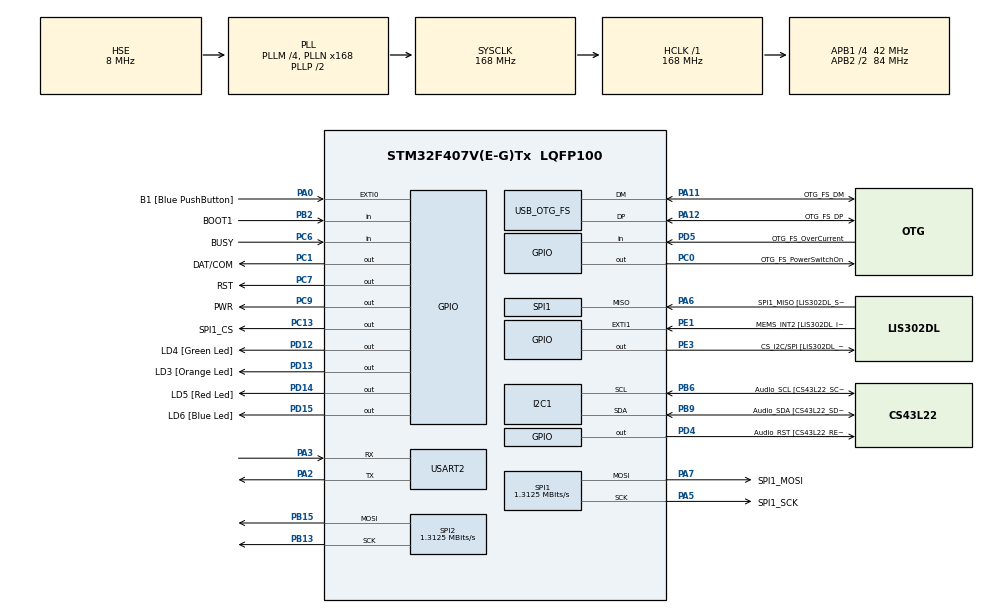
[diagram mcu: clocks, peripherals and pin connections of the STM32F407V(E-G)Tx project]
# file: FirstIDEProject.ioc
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Mcu.Family=STM32F4
Mcu.Name=STM32F407V(E-G)Tx
Mcu.Package=LQFP100
NVIC.OTG_FS_IRQn=true\:0\:0\:false\:false\:true\:true\:true\:true
NVIC.PriorityGroup=NVIC_PRIORITYGROUP_0
NVIC.TIM3_IRQn=true\:0\:0\:false\:false\:true\:true\:true\:true
NVIC.TIM6_DAC_IRQn=true\:0\:0\:false\:false\:true\:true\:true\:true
PA0-WKUP.GPIO_Label=B1 [Blue PushButton]
PA0-WKUP.GPIO_ModeDefaultEXTI=GPIO_MODE_EVT_RISING
PA0-WKUP.GPIO_PuPd=GPIO_NOPULL
PA0-WKUP.Signal=GPXTI0
PA10.GPIO_Label=OTG_FS_ID
PA10.GPIO_Mode=GPIO_MODE_AF_PP
PA10.GPIO_PuPd=GPIO_NOPULL
PA10.GPIO_Speed=GPIO_SPEED_FREQ_LOW
PA10.Signal=USB_OTG_FS_ID
PA11.GPIO_Label=OTG_FS_DM
PA11.GPIO_Mode=GPIO_MODE_AF_PP
PA11.GPIO_PuPd=GPIO_NOPULL
PA11.GPIO_Speed=GPIO_SPEED_FREQ_LOW
PA11.Mode=Device_Only
PA11.Signal=USB_OTG_FS_DM
PA12.GPIO_Label=OTG_FS_DP
PA12.GPIO_Mode=GPIO_MODE_AF_PP
PA12.GPIO_PuPd=GPIO_NOPULL
PA12.GPIO_Speed=GPIO_SPEED_FREQ_LOW
PA12.Mode=Device_Only
PA12.Signal=USB_OTG_FS_DP
PA13.GPIO_Label=SWDIO
PA13.Mode=Serial_Wire
PA13.Signal=SYS_JTMS-SWDIO
PA14.GPIO_Label=SWCLK
PA14.Mode=Serial_Wire
PA14.Signal=SYS_JTCK-SWCLK
PA2.Mode=Asynchronous
PA2.Signal=USART2_TX
PA3.Mode=Asynchronous
PA3.Signal=USART2_RX
PA4.GPIO_Label=I2S3_WS [CS43L22_LRCK]
PA4.GPIO_Mode=GPIO_MODE_AF_PP
PA4.GPIO_PuPd=GPIO_NOPULL
PA4.GPIO_Speed=GPIO_SPEED_FREQ_LOW
PA4.Signal=I2S3_WS
PA5.GPIO_Label=SPI1_SCK
PA5.GPIO_Mode=GPIO_MODE_AF_PP
PA5.GPIO_PuPd=GPIO_NOPULL
PA5.GPIO_Speed=GPIO_SPEED_FREQ_LOW
PA5.Mode=Full_Duplex_Master
PA5.Signal=SPI1_SCK
PA6.GPIO_Label=SPI1_MISO [LIS302DL_SDO]
PA6.GPIO_Mode=GPIO_MODE_AF_PP
PA6.GPIO_PuPd=GPIO_NOPULL
PA6.GPIO_Speed=GPIO_SPEED_FREQ_LOW
PA6.Mode=Full_Duplex_Master
PA6.Signal=SPI1_MISO
PA7.GPIO_Label=SPI1_MOSI
PA7.GPIO_Mode=GPIO_MODE_AF_PP
PA7.GPIO_PuPd=GPIO_NOPULL
PA7.GPIO_Speed=GPIO_SPEED_FREQ_LOW
PA7.Mode=Full_Duplex_Master
PA7.Signal=SPI1_MOSI
PA9.GPIO_Label=VBUS_FS
PA9.GPIO_Mode=GPIO_MODE_INPUT
PA9.GPIO_PuPd=GPIO_NOPULL
PA9.Signal=USB_OTG_FS_VBUS
PB10.GPIO_Label=CLK_IN [MP45DT02_CLK]
PB10.GPIO_Mode=GPIO_MODE_AF_PP
PB10.GPIO_PuPd=GPIO_NOPULL
PB10.GPIO_Speed=GPIO_SPEED_FREQ_LOW
PB10.Signal=I2S2_CK
PB13.Mode=TX_Only_Simplex_Unidirect_Master
PB13.Signal=SPI2_SCK
PB15.Mode=TX_Only_Simplex_Unidirect_Master
PB15.Signal=SPI2_MOSI
PB2.GPIO_Label=BOOT1
PB2.GPIO_Mode=GPIO_MODE_INPUT
PB2.GPIO_PuPd=GPIO_NOPULL
PB2.Signal=GPIO_Input
PB3.GPIO_Label=SWO
PB3.Signal=SYS_JTDO-SWO
PB6.GPIO_Label=Audio_SCL [CS43L22_SCL]
PB6.GPIO_Mode=GPIO_MODE_AF_OD
PB6.GPIO_Pu=GPIO_PULLUP
PB6.GPIO_PuPd=GPIO_NOPULL
PB6.GPIO_Speed=GPIO_SPEED_FREQ_LOW
PB6.Mode=I2C
PB6.Signal=I2C1_SCL
PB9.GPIO_Label=Audio_SDA [CS43L22_SDA]
PB9.GPIO_Mode=GPIO_MODE_AF_OD
PB9.GPIO_Pu=GPIO_PULLUP
PB9.GPIO_PuPd=GPIO_NOPULL
PB9.GPIO_Speed=GPIO_SPEED_FREQ_LOW
PB9.Mode=I2C
PB9.Signal=I2C1_SDA
PC0.GPIO_Label=OTG_FS_PowerSwitchOn
PC0.GPIO_PuPd=GPIO_NOPULL
PC0.GPIO_Speed=GPIO_SPEED_FREQ_LOW
PC0.PinState=GPIO_PIN_SET
PC0.Signal=GPIO_Output
PC1.GPIO_Label=DAT/COM
PC1.Signal=GPIO_Output
PC10.GPIO_Label=I2S3_SCK [CS43L22_SCLK]
PC10.GPIO_Mode=GPIO_MODE_AF_PP
PC10.GPIO_PuPd=GPIO_NOPULL
PC10.GPIO_Speed=GPIO_SPEED_FREQ_LOW
PC10.Signal=I2S3_CK
PC12.GPIO_Label=I2S3_SD [CS43L22_SDIN]
PC12.GPIO_Mode=GPIO_MODE_AF_PP
PC12.GPIO_PuPd=GPIO_NOPULL
PC12.GPIO_Speed=GPIO_SPEED_FREQ_LOW
PC12.Signal=I2S3_SD
PC13-ANTI_TAMP.GPIO_Label=SPI1_CS
PC13-ANTI_TAMP.Signal=GPIO_Output
PC14-OSC32_IN.GPIO_Label=PC14-OSC32_IN
PC14-OSC32_IN.Signal=RCC_OSC32_IN
PC15-OSC32_OUT.GPIO_Label=PC15-OSC32_OUT
PC15-OSC32_OUT.Signal=RCC_OSC32_OUT
PC3.GPIO_Label=PDM_OUT [MP45DT02_DOUT]
PC3.GPIO_Mode=GPIO_MODE_AF_PP
PC3.GPIO_PuPd=GPIO_NOPULL
PC3.GPIO_Speed=GPIO_SPEED_FREQ_LOW
PC3.Signal=I2S2_SD
PC6.GPIO_Label=BUSY
PC6.Signal=GPIO_Input
PC7.GPIO_Label=RST
PC7.Signal=GPIO_Output
PC9.GPIO_Label=PWR
PC9.Signal=GPIO_Output
PD12.GPIO_Label=LD4 [Green Led]
PD12.GPIO_PuPd=GPIO_NOPULL
PD12.GPIO_Speed=GPIO_SPEED_FREQ_LOW
PD12.Signal=GPIO_Output
PD13.GPIO_Label=LD3 [Orange Led]
PD13.GPIO_PuPd=GPIO_NOPULL
PD13.GPIO_Speed=GPIO_SPEED_FREQ_LOW
PD13.Signal=GPIO_Output
PD14.GPIO_Label=LD5 [Red Led]
PD14.GPIO_PuPd=GPIO_NOPULL
PD14.GPIO_Speed=GPIO_SPEED_FREQ_LOW
PD14.Signal=GPIO_Output
PD15.GPIO_Label=LD6 [Blue Led]
PD15.GPIO_PuPd=GPIO_NOPULL
PD15.GPIO_Speed=GPIO_SPEED_FREQ_LOW
PD15.Signal=GPIO_Output
PD4.GPIO_Label=Audio_RST [CS43L22_RESET]
PD4.GPIO_PuPd=GPIO_NOPULL
PD4.GPIO_Speed=GPIO_SPEED_FREQ_LOW
PD4.Signal=GPIO_Output
PD5.GPIO_Label=OTG_FS_OverCurrent
PD5.GPIO_Mode=GPIO_MODE_INPUT
PD5.GPIO_PuPd=GPIO_NOPULL
PD5.Signal=GPIO_Input
PE1.GPIO_Label=MEMS_INT2 [LIS302DL_INT2]
PE1.GPIO_ModeDefaultEXTI=GPIO_MODE_EVT_RISING
PE1.GPIO_PuPd=GPIO_NOPULL
PE1.Signal=GPXTI1
PE3.GPIO_Label=CS_I2C/SPI [LIS302DL_CS_I2C/SPI]
PE3.GPIO_PuPd=GPIO_NOPULL
PE3.GPIO_Speed=GPIO_SPEED_FREQ_LOW
PE3.Signal=GPIO_Output
PH0-OSC_IN.GPIO_Label=PH0-OSC_IN
PH0-OSC_IN.Mode=HSE-External-Oscillator
PH0-OSC_IN.Signal=RCC_OSC_IN
PH1-OSC_OUT.GPIO_Label=PH1-OSC_OUT
PH1-OSC_OUT.Mode=HSE-External-Oscillator
PH1-OSC_OUT.Signal=RCC_OSC_OUT
ProjectManager.HeapSize=0x2000
ProjectManager.StackSize=0x4000
ProjectManager.TargetToolchain=STM32CubeIDE
RCC.48MHZClocksFreq_Value=48000000
RCC.AHBFreq_Value=168000000
RCC.APB1CLKDivider=RCC_HCLK_DIV4
RCC.APB1Freq_Value=42000000
RCC.APB1TimFreq_Value=84000000
RCC.APB2CLKDivider=RCC_HCLK_DIV2
RCC.APB2Freq_Value=84000000
RCC.APB2TimFreq_Value=168000000
RCC.CortexFreq_Value=168000000
RCC.HCLKFreq_Value=168000000
RCC.HSE_VALUE=8000000
RCC.HSI_VALUE=16000000
RCC.PLLM=4
RCC.PLLN=168
RCC.PLLQ=7
RCC.SYSCLKFreq_VALUE=168000000
RCC.SYSCLKSource=RCC_SYSCLKSOURCE_PLLCLK
RCC.VCOOutputFreq_Value=336000000
SPI1.BaudRatePrescaler=SPI_BAUDRATEPRESCALER_64
SPI1.CalculateBaudRate=1.3125 MBits/s
SPI1.Direction=SPI_DIRECTION_2LINES
SPI1.Mode=SPI_MODE_MASTER
SPI1.VirtualType=VM_MASTER
SPI2.BaudRatePrescaler=SPI_BAUDRATEPRESCALER_32
SPI2.CalculateBaudRate=1.3125 MBits/s
SPI2.Direction=SPI_DIRECTION_2LINES
SPI2.Mode=SPI_MODE_MASTER
SPI2.VirtualType=VM_MASTER
TIM3.Prescaler=11
TIM6.TIM_MasterOutputTrigger=TIM_TRGO_ENABLE
USART2.VirtualMode=VM_ASYNC
USB_OTG_FS.VirtualMode=Device_Only
VP_TIM3_VS_ClockSourceINT.Mode=Internal
VP_TIM6_VS_ClockSourceINT.Mode=Enable_Timer
board=STM32F407G-DISC1

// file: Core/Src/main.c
/* USER CODE BEGIN Header */
/**
  ******************************************************************************
  * @file           : main.c
  * @brief          : Main program body
  ******************************************************************************
  * @attention
  *
  * Copyright (c) 2025 STMicroelectronics.
  * All rights reserved.
  *
  * This software is licensed under terms that can be found in the LICENSE file
  * in the root directory of this software component.
  * If no LICENSE file comes with this software, it is provided AS-IS.
  *
  ******************************************************************************
  */
/* USER CODE END Header */
#include "main.h"

/* USER CODE BEGIN Includes */

#include "../Pilotes/piloteIOB1.h"
#include "../Pilotes/piloteIOT1.h"
#include "../Pilotes/piloteIOT2.h"
#include "../Pilotes/piloteIOT3.h"
#include "../Pilotes/piloteIOT4.h"
#include "../Pilotes/PiloteIO_SPI_EPAPER.h"
#include "../Pilotes/PiloteTimer6Up.h"

#include "../Interfaces/interfaceB1.h"
#include "../Interfaces/interfaceT1.h"
#include "../Interfaces/interfaceT2.h"
#include "../Interfaces/interfaceT3.h"
#include "../Interfaces/interfaceT4.h"

#include "../Services/serviceBaseDeTemps.h"

#include "EPD_352_Interface.h"

#include "GUI_Paint.h"
#include "ImageData.h"

/* USER CODE END Includes */

I2C_HandleTypeDef hi2c1;

SPI_HandleTypeDef hspi1;
SPI_HandleTypeDef hspi2;

TIM_HandleTypeDef htim3;
TIM_HandleTypeDef htim6;

UART_HandleTypeDef huart2;

PCD_HandleTypeDef hpcd_USB_OTG_FS;

void SystemClock_Config(void);
static void MX_GPIO_Init(void);
static void MX_I2C1_Init(void);
static void MX_SPI1_Init(void);
static void MX_USART2_UART_Init(void);
static void MX_USB_OTG_FS_PCD_Init(void);
static void MX_SPI2_Init(void);
static void MX_TIM3_Init(void);
static void MX_TIM6_Init(void);
/* USER CODE BEGIN PFP */
void main_initialiseAvantLeHAL(void);
void main_initialiseApresLeHAL(void);
/* USER CODE END PFP */

/* USER CODE BEGIN 0 */
const uint8_t EPD_BLACK = 0x00;
const uint8_t EPD_WHITE = 0xFF;

void neFaitRien(void)
{

}

void main_initialiseAvantLeHAL(void)
{
  // Initialise les pilotes de p�riph�riques
  piloteTimer6Up_initialise();
  Pilote_CS0_EPAPER_initialise();
  Pilote_DC_EPAPER_initialise();
  Pilote_RST_EPAPER_initialise();
  Pilote_BUSY_EPAPER_initialise();
  // Initalise les pilotes d'entr�es/sorties
  piloteIOB1_initialise();
  piloteIOT1_initialise();
  piloteIOT2_initialise();
  piloteIOT3_initialise();
  piloteIOT4_initialise();
  // Initialise les interfaces
  interfaceB1_initialise();
  interfaceT1_initialise();
  interfaceT2_initialise();
  interfaceT3_initialise();
  interfaceT4_initialise();
  // Initialise the base de temps service
  serviceBaseDeTemps_initialise();
}

void main_initialiseApresLeHAL(void)
{
	EPD_352_Init();
}
/* USER CODE END 0 */

int main(void)
{

  /* USER CODE BEGIN 1 */
  char uart_buf[50];
 //char spi_buf[20];
  int uart_len;

  /* USER CODE END 1 */

  /* MCU Configuration--------------------------------------------------------*/

  /* Reset of all peripherals, Initializes the Flash interface and the Systick. */
  HAL_Init();

  /* Configure the system clock */
  SystemClock_Config();

  /* Initialize all configured peripherals */
  MX_GPIO_Init();
  MX_I2C1_Init();
  MX_SPI1_Init();
  MX_USART2_UART_Init();
  MX_USB_OTG_FS_PCD_Init();
  MX_SPI2_Init();
  MX_TIM3_Init();
  MX_TIM6_Init();
  /* USER CODE BEGIN 2 */
  main_initialiseApresLeHAL();

  EPD_352_display_NUM(EPD_3IN52_BLACK);
  EPD_352_lut_GC();
  EPD_352_refresh();

  EPD_352_SendCommand(0x50);
  EPD_352_SendData(0x17);

  HAL_Delay(500);

  uint8_t *imagenoir;
  uint16_t imagesize= ((EPD_3IN52_WIDTH % 8 == 0)? (EPD_3IN52_WIDTH / 8 ): (EPD_3IN52_WIDTH / 8 + 1)) * EPD_3IN52_HEIGHT;
  if((imagenoir = (uint8_t *)malloc(imagesize)) == NULL) {
	  uart_len = sprintf(uart_buf, "Failed to apply for black memory...\r\n");
	  HAL_UART_Transmit(&huart2, (uint8_t *)uart_buf, uart_len, HAL_MAX_DELAY);
          return -1;
      }
  Paint_NewImage(imagenoir, EPD_3IN52_WIDTH, EPD_3IN52_HEIGHT, ROTATE_270, WHITE);
  Paint_Clear(WHITE);

  Paint_SelectImage(imagenoir);
  Paint_Clear(WHITE);
  Paint_DrawBitMap(gImage_Didou);

  EPD_352_display(imagenoir);
  EPD_352_lut_GC();
  EPD_352_refresh();
/*  HAL_Delay(2000);

    Paint_SelectImage(imagenoir);
    Paint_Clear(WHITE);
    EPD_352_lut_GC();  m,                                      <
    <
    EPD_352_refresh();
    EPD_352_display(imagenoir);
    Paint_SelectImage(imagenoir);
    Paint_Clear(WHITE);

    Paint_DrawPoint(10, 80, BLACK, DOT_PIXEL_1X1, DOT_STYLE_DFT);
    Paint_DrawPoint(10, 90, BLACK, DOT_PIXEL_2X2, DOT_STYLE_DFT);
    Paint_DrawPoint(10, 100, BLACK, DOT_PIXEL_3X3, DOT_STYLE_DFT);
    Paint_DrawLine(20, 70, 70, 120, BLACK, DOT_PIXEL_1X1, LINE_STYLE_SOLID);
    Paint_DrawLine(70, 70, 20, 120, BLACK, DOT_PIXEL_1X1, LINE_STYLE_SOLID);
    Paint_DrawRectangle(20, 70, 70, 120, BLACK, DOT_PIXEL_1X1, DRAW_FILL_EMPTY);
    Paint_DrawRectangle(80, 70, 130, 120, BLACK, DOT_PIXEL_1X1, DRAW_FILL_FULL);
    Paint_DrawCircle(45, 95, 20, BLACK, DOT_PIXEL_1X1, DRAW_FILL_EMPTY);
    Paint_DrawCircle(105, 95, 20, WHITE, DOT_PIXEL_1X1, DRAW_FILL_FULL);
    Paint_DrawLine(85, 95, 125, 95, BLACK, DOT_PIXEL_1X1, LINE_STYLE_DOTTED);
    Paint_DrawLine(105, 75, 105, 115, BLACK, DOT_PIXEL_1X1, LINE_STYLE_DOTTED);
    Paint_DrawString_EN(10, 0, "waveshare", &Font16, BLACK, WHITE);
    Paint_DrawString_EN(10, 20, "hello world", &Font12, WHITE, BLACK);
    Paint_DrawNum(10, 33, 123456789, &Font12, BLACK, WHITE);
    Paint_DrawNum(10, 50, 987654321, &Font16, WHITE, BLACK);

    EPD_352_display(imagenoir);
    EPD_352_lut_GC();
    EPD_352_refresh();
*/
    HAL_Delay(2000);

  /* USER CODE END 2 */

  /* Infinite loop */
  while (1)
  {

  }
}

void SystemClock_Config(void)
{
  RCC_OscInitTypeDef RCC_OscInitStruct = {0};
  RCC_ClkInitTypeDef RCC_ClkInitStruct = {0};

  /** Configure the main internal regulator output voltage
  */
  __HAL_RCC_PWR_CLK_ENABLE();
  __HAL_PWR_VOLTAGESCALING_CONFIG(PWR_REGULATOR_VOLTAGE_SCALE1);

  /** Initializes the RCC Oscillators according to the specified parameters
  * in the RCC_OscInitTypeDef structure.
  */
  RCC_OscInitStruct.OscillatorType = RCC_OSCILLATORTYPE_HSE;
  RCC_OscInitStruct.HSEState = RCC_HSE_ON;
  RCC_OscInitStruct.PLL.PLLState = RCC_PLL_ON;
  RCC_OscInitStruct.PLL.PLLSource = RCC_PLLSOURCE_HSE;
  RCC_OscInitStruct.PLL.PLLM = 4;
  RCC_OscInitStruct.PLL.PLLN = 168;
  RCC_OscInitStruct.PLL.PLLP = RCC_PLLP_DIV2;
  RCC_OscInitStruct.PLL.PLLQ = 7;
  if (HAL_RCC_OscConfig(&RCC_OscInitStruct) != HAL_OK)
  {
    Error_Handler();
  }

  /** Initializes the CPU, AHB and APB buses clocks
  */
  RCC_ClkInitStruct.ClockType = RCC_CLOCKTYPE_HCLK|RCC_CLOCKTYPE_SYSCLK
                              |RCC_CLOCKTYPE_PCLK1|RCC_CLOCKTYPE_PCLK2;
  RCC_ClkInitStruct.SYSCLKSource = RCC_SYSCLKSOURCE_PLLCLK;
  RCC_ClkInitStruct.AHBCLKDivider = RCC_SYSCLK_DIV1;
  RCC_ClkInitStruct.APB1CLKDivider = RCC_HCLK_DIV4;
  RCC_ClkInitStruct.APB2CLKDivider = RCC_HCLK_DIV2;

  if (HAL_RCC_ClockConfig(&RCC_ClkInitStruct, FLASH_LATENCY_5) != HAL_OK)
  {
    Error_Handler();
  }
}

static void MX_I2C1_Init(void)
{

  hi2c1.Instance = I2C1;
  hi2c1.Init.ClockSpeed = 100000;
  hi2c1.Init.DutyCycle = I2C_DUTYCYCLE_2;
  hi2c1.Init.OwnAddress1 = 0;
  hi2c1.Init.AddressingMode = I2C_ADDRESSINGMODE_7BIT;
  hi2c1.Init.DualAddressMode = I2C_DUALADDRESS_DISABLE;
  hi2c1.Init.OwnAddress2 = 0;
  hi2c1.Init.GeneralCallMode = I2C_GENERALCALL_DISABLE;
  hi2c1.Init.NoStretchMode = I2C_NOSTRETCH_DISABLE;
  if (HAL_I2C_Init(&hi2c1) != HAL_OK)
  {
    Error_Handler();
  }

}

static void MX_SPI1_Init(void)
{

  /* SPI1 parameter configuration*/
  hspi1.Instance = SPI1;
  hspi1.Init.Mode = SPI_MODE_MASTER;
  hspi1.Init.Direction = SPI_DIRECTION_2LINES;
  hspi1.Init.DataSize = SPI_DATASIZE_8BIT;
  hspi1.Init.CLKPolarity = SPI_POLARITY_LOW;
  hspi1.Init.CLKPhase = SPI_PHASE_1EDGE;
  hspi1.Init.NSS = SPI_NSS_SOFT;
  hspi1.Init.BaudRatePrescaler = SPI_BAUDRATEPRESCALER_64;
  hspi1.Init.FirstBit = SPI_FIRSTBIT_MSB;
  hspi1.Init.TIMode = SPI_TIMODE_DISABLE;
  hspi1.Init.CRCCalculation = SPI_CRCCALCULATION_DISABLE;
  hspi1.Init.CRCPolynomial = 10;
  if (HAL_SPI_Init(&hspi1) != HAL_OK)
  {
    Error_Handler();
  }

}

static void MX_SPI2_Init(void)
{

  /* SPI2 parameter configuration*/
  hspi2.Instance = SPI2;
  hspi2.Init.Mode = SPI_MODE_MASTER;
  hspi2.Init.Direction = SPI_DIRECTION_2LINES;
  hspi2.Init.DataSize = SPI_DATASIZE_8BIT;
  hspi2.Init.CLKPolarity = SPI_POLARITY_LOW;
  hspi2.Init.CLKPhase = SPI_PHASE_1EDGE;
  hspi2.Init.NSS = SPI_NSS_SOFT;
  hspi2.Init.BaudRatePrescaler = SPI_BAUDRATEPRESCALER_32;
  hspi2.Init.FirstBit = SPI_FIRSTBIT_MSB;
  hspi2.Init.TIMode = SPI_TIMODE_DISABLE;
  hspi2.Init.CRCCalculation = SPI_CRCCALCULATION_DISABLE;
  hspi2.Init.CRCPolynomial = 10;
  if (HAL_SPI_Init(&hspi2) != HAL_OK)
  {
    Error_Handler();
  }

}

static void MX_TIM3_Init(void)
{

  TIM_ClockConfigTypeDef sClockSourceConfig = {0};
  TIM_MasterConfigTypeDef sMasterConfig = {0};

  htim3.Instance = TIM3;
  htim3.Init.Prescaler = 11;
  htim3.Init.CounterMode = TIM_COUNTERMODE_UP;
  htim3.Init.Period = 65535;
  htim3.Init.ClockDivision = TIM_CLOCKDIVISION_DIV1;
  htim3.Init.AutoReloadPreload = TIM_AUTORELOAD_PRELOAD_DISABLE;
  if (HAL_TIM_Base_Init(&htim3) != HAL_OK)
  {
    Error_Handler();
  }
  sClockSourceConfig.ClockSource = TIM_CLOCKSOURCE_INTERNAL;
  if (HAL_TIM_ConfigClockSource(&htim3, &sClockSourceConfig) != HAL_OK)
  {
    Error_Handler();
  }
  sMasterConfig.MasterOutputTrigger = TIM_TRGO_RESET;
  sMasterConfig.MasterSlaveMode = TIM_MASTERSLAVEMODE_DISABLE;
  if (HAL_TIMEx_MasterConfigSynchronization(&htim3, &sMasterConfig) != HAL_OK)
  {
    Error_Handler();
  }

}

static void MX_TIM6_Init(void)
{

  TIM_MasterConfigTypeDef sMasterConfig = {0};

  htim6.Instance = TIM6;
  htim6.Init.Prescaler = 0;
  htim6.Init.CounterMode = TIM_COUNTERMODE_UP;
  htim6.Init.Period = 65535;
  htim6.Init.AutoReloadPreload = TIM_AUTORELOAD_PRELOAD_DISABLE;
  if (HAL_TIM_Base_Init(&htim6) != HAL_OK)
  {
    Error_Handler();
  }
  sMasterConfig.MasterOutputTrigger = TIM_TRGO_ENABLE;
  sMasterConfig.MasterSlaveMode = TIM_MASTERSLAVEMODE_DISABLE;
  if (HAL_TIMEx_MasterConfigSynchronization(&htim6, &sMasterConfig) != HAL_OK)
  {
    Error_Handler();
  }

}

static void MX_USART2_UART_Init(void)
{

  huart2.Instance = USART2;
  huart2.Init.BaudRate = 115200;
  huart2.Init.WordLength = UART_WORDLENGTH_8B;
  huart2.Init.StopBits = UART_STOPBITS_1;
  huart2.Init.Parity = UART_PARITY_NONE;
  huart2.Init.Mode = UART_MODE_TX_RX;
  huart2.Init.HwFlowCtl = UART_HWCONTROL_NONE;
  huart2.Init.OverSampling = UART_OVERSAMPLING_16;
  if (HAL_UART_Init(&huart2) != HAL_OK)
  {
    Error_Handler();
  }

}

static void MX_USB_OTG_FS_PCD_Init(void)
{

  hpcd_USB_OTG_FS.Instance = USB_OTG_FS;
  hpcd_USB_OTG_FS.Init.dev_endpoints = 4;
  hpcd_USB_OTG_FS.Init.speed = PCD_SPEED_FULL;
  hpcd_USB_OTG_FS.Init.dma_enable = DISABLE;
  hpcd_USB_OTG_FS.Init.phy_itface = PCD_PHY_EMBEDDED;
  hpcd_USB_OTG_FS.Init.Sof_enable = DISABLE;
  hpcd_USB_OTG_FS.Init.low_power_enable = DISABLE;
  hpcd_USB_OTG_FS.Init.lpm_enable = DISABLE;
  hpcd_USB_OTG_FS.Init.vbus_sensing_enable = DISABLE;
  hpcd_USB_OTG_FS.Init.use_dedicated_ep1 = DISABLE;
  if (HAL_PCD_Init(&hpcd_USB_OTG_FS) != HAL_OK)
  {
    Error_Handler();
  }

}

static void MX_GPIO_Init(void)
{
  GPIO_InitTypeDef GPIO_InitStruct = {0};

  /* GPIO Ports Clock Enable */
  __HAL_RCC_GPIOE_CLK_ENABLE();
  __HAL_RCC_GPIOC_CLK_ENABLE();
  __HAL_RCC_GPIOH_CLK_ENABLE();
  __HAL_RCC_GPIOA_CLK_ENABLE();
  __HAL_RCC_GPIOB_CLK_ENABLE();
  __HAL_RCC_GPIOD_CLK_ENABLE();

  /*Configure GPIO pin Output Level */
  HAL_GPIO_WritePin(CS_I2C_SPI_GPIO_Port, CS_I2C_SPI_Pin, GPIO_PIN_RESET);

  /*Configure GPIO pin Output Level */
  HAL_GPIO_WritePin(GPIOC, SPI1_CS_Pin|DAT_COM_Pin|RST_Pin|PWR_Pin, GPIO_PIN_RESET);

  /*Configure GPIO pin Output Level */
  HAL_GPIO_WritePin(OTG_FS_PowerSwitchOn_GPIO_Port, OTG_FS_PowerSwitchOn_Pin, GPIO_PIN_SET);

  /*Configure GPIO pin Output Level */
  HAL_GPIO_WritePin(GPIOD, LD4_Pin|LD3_Pin|LD5_Pin|LD6_Pin
                          |Audio_RST_Pin, GPIO_PIN_RESET);

  /*Configure GPIO pin : CS_I2C_SPI_Pin */
  GPIO_InitStruct.Pin = CS_I2C_SPI_Pin;
  GPIO_InitStruct.Mode = GPIO_MODE_OUTPUT_PP;
  GPIO_InitStruct.Pull = GPIO_NOPULL;
  GPIO_InitStruct.Speed = GPIO_SPEED_FREQ_LOW;
  HAL_GPIO_Init(CS_I2C_SPI_GPIO_Port, &GPIO_InitStruct);

  /*Configure GPIO pins : SPI1_CS_Pin OTG_FS_PowerSwitchOn_Pin DAT_COM_Pin RST_Pin
                           PWR_Pin */
  GPIO_InitStruct.Pin = SPI1_CS_Pin|OTG_FS_PowerSwitchOn_Pin|DAT_COM_Pin|RST_Pin
                          |PWR_Pin;
  GPIO_InitStruct.Mode = GPIO_MODE_OUTPUT_PP;
  GPIO_InitStruct.Pull = GPIO_NOPULL;
  GPIO_InitStruct.Speed = GPIO_SPEED_FREQ_LOW;
  HAL_GPIO_Init(GPIOC, &GPIO_InitStruct);

  /*Configure GPIO pin : PDM_OUT_Pin */
  GPIO_InitStruct.Pin = PDM_OUT_Pin;
  GPIO_InitStruct.Mode = GPIO_MODE_AF_PP;
  GPIO_InitStruct.Pull = GPIO_NOPULL;
  GPIO_InitStruct.Speed = GPIO_SPEED_FREQ_LOW;
  GPIO_InitStruct.Alternate = GPIO_AF5_SPI2;
  HAL_GPIO_Init(PDM_OUT_GPIO_Port, &GPIO_InitStruct);

  /*Configure GPIO pin : B1_Pin */
  GPIO_InitStruct.Pin = B1_Pin;
  GPIO_InitStruct.Mode = GPIO_MODE_EVT_RISING;
  GPIO_InitStruct.Pull = GPIO_NOPULL;
  HAL_GPIO_Init(B1_GPIO_Port, &GPIO_InitStruct);

  /*Configure GPIO pin : I2S3_WS_Pin */
  GPIO_InitStruct.Pin = I2S3_WS_Pin;
  GPIO_InitStruct.Mode = GPIO_MODE_AF_PP;
  GPIO_InitStruct.Pull = GPIO_NOPULL;
  GPIO_InitStruct.Speed = GPIO_SPEED_FREQ_LOW;
  GPIO_InitStruct.Alternate = GPIO_AF6_SPI3;
  HAL_GPIO_Init(I2S3_WS_GPIO_Port, &GPIO_InitStruct);

  /*Configure GPIO pin : BOOT1_Pin */
  GPIO_InitStruct.Pin = BOOT1_Pin;
  GPIO_InitStruct.Mode = GPIO_MODE_INPUT;
  GPIO_InitStruct.Pull = GPIO_NOPULL;
  HAL_GPIO_Init(BOOT1_GPIO_Port, &GPIO_InitStruct);

  /*Configure GPIO pin : CLK_IN_Pin */
  GPIO_InitStruct.Pin = CLK_IN_Pin;
  GPIO_InitStruct.Mode = GPIO_MODE_AF_PP;
  GPIO_InitStruct.Pull = GPIO_NOPULL;
  GPIO_InitStruct.Speed = GPIO_SPEED_FREQ_LOW;
  GPIO_InitStruct.Alternate = GPIO_AF5_SPI2;
  HAL_GPIO_Init(CLK_IN_GPIO_Port, &GPIO_InitStruct);

  /*Configure GPIO pins : LD4_Pin LD3_Pin LD5_Pin LD6_Pin
                           Audio_RST_Pin */
  GPIO_InitStruct.Pin = LD4_Pin|LD3_Pin|LD5_Pin|LD6_Pin
                          |Audio_RST_Pin;
  GPIO_InitStruct.Mode = GPIO_MODE_OUTPUT_PP;
  GPIO_InitStruct.Pull = GPIO_NOPULL;
  GPIO_InitStruct.Speed = GPIO_SPEED_FREQ_LOW;
  HAL_GPIO_Init(GPIOD, &GPIO_InitStruct);

  /*Configure GPIO pin : BUSY_Pin */
  GPIO_InitStruct.Pin = BUSY_Pin;
  GPIO_InitStruct.Mode = GPIO_MODE_INPUT;
  GPIO_InitStruct.Pull = GPIO_NOPULL;
  HAL_GPIO_Init(BUSY_GPIO_Port, &GPIO_InitStruct);

  /*Configure GPIO pins : I2S3_SCK_Pin I2S3_SD_Pin */
  GPIO_InitStruct.Pin = I2S3_SCK_Pin|I2S3_SD_Pin;
  GPIO_InitStruct.Mode = GPIO_MODE_AF_PP;
  GPIO_InitStruct.Pull = GPIO_NOPULL;
  GPIO_InitStruct.Speed = GPIO_SPEED_FREQ_LOW;
  GPIO_InitStruct.Alternate = GPIO_AF6_SPI3;
  HAL_GPIO_Init(GPIOC, &GPIO_InitStruct);

  /*Configure GPIO pin : OTG_FS_OverCurrent_Pin */
  GPIO_InitStruct.Pin = OTG_FS_OverCurrent_Pin;
  GPIO_InitStruct.Mode = GPIO_MODE_INPUT;
  GPIO_InitStruct.Pull = GPIO_NOPULL;
  HAL_GPIO_Init(OTG_FS_OverCurrent_GPIO_Port, &GPIO_InitStruct);

  /*Configure GPIO pin : MEMS_INT2_Pin */
  GPIO_InitStruct.Pin = MEMS_INT2_Pin;
  GPIO_InitStruct.Mode = GPIO_MODE_EVT_RISING;
  GPIO_InitStruct.Pull = GPIO_NOPULL;
  HAL_GPIO_Init(MEMS_INT2_GPIO_Port, &GPIO_InitStruct);

}

void Error_Handler(void)
{
  __disable_irq();
  while (1)
  {
  }
}
